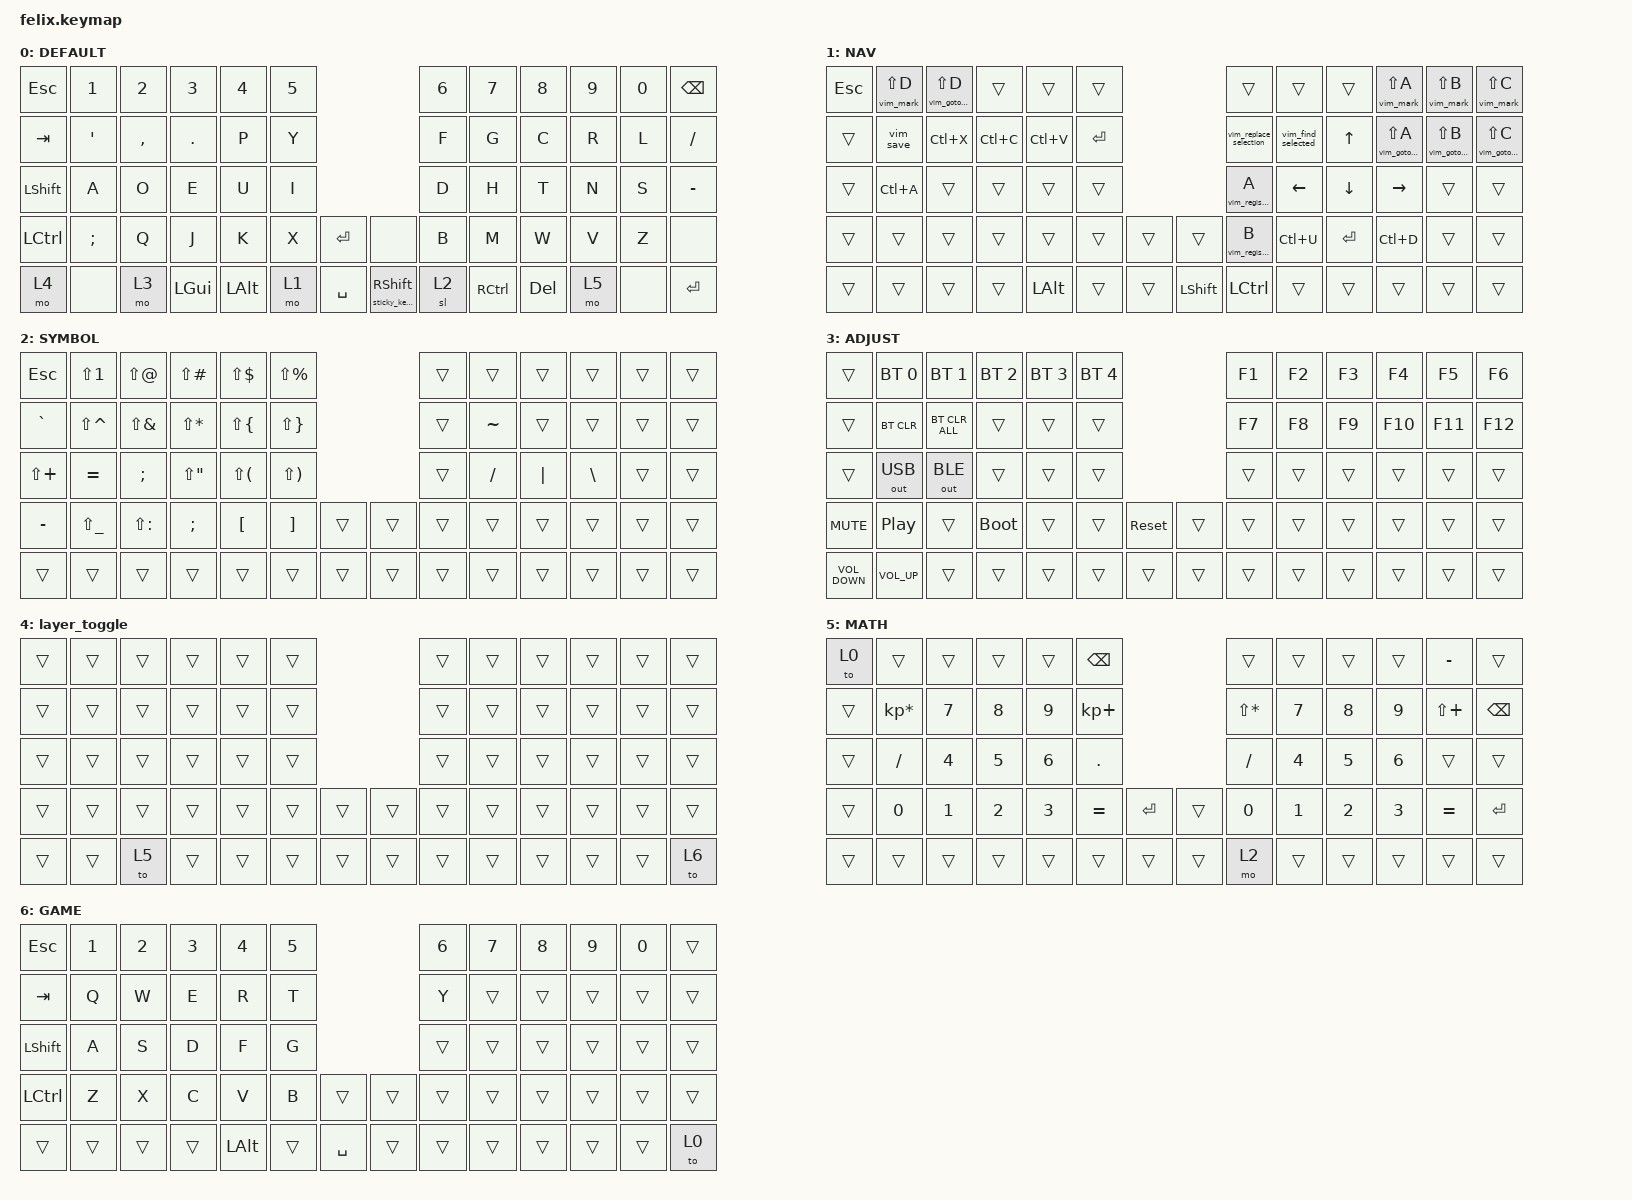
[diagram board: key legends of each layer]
/*
 * Copyright (c) 2020 The ZMK Contributors
 *
 * SPDX-License-Identifier: MIT
 */

#include <behaviors.dtsi>
#include <dt-bindings/zmk/bt.h>
#include <dt-bindings/zmk/keys.h>
#include <dt-bindings/zmk/outputs.h>

#define DEFAULT 0
#define LOWER  1
#define RAISE  2
#define ADJUST 3

/* NOTE: At the time of the creation of this keymap, there are no specified codes for 'eisuu' and 'kana' input in ZMK.
However, 'LANG1' and 'LANG2' are fully-functioning candidates for 'kana' and 'eisuu' input respectively.
As such, those are in use within the default layer at this time.*/

/ {
    behaviors {
        tpmt: tpmt {
            compatible = "zmk,behavior-hold-tap";
            label = "TPMT";
            bindings = <&kp>, <&kp>;

            #binding-cells = <2>;
            tapping-term-ms = <200>;
            quick-tap-ms = <125>;
            require-prior-idle-ms = <125>;
            flavor = "tap-preferred";
        };

        sticky_key_quick_release: sticky_key_quick_release {
            compatible = "zmk,behavior-sticky-key";
            label = "STICKY_KEY_QUICK_RELEASE";
            bindings = <&kp>;
            #binding-cells = <1>;
            quick-release;
            release-after-ms = <1000>;
        };
    };

    macros {
        m_dbl_zz: m_dbl_zz {
            compatible = "zmk,behavior-macro";
            #binding-cells = <0>;
            bindings = <&kp Z &kp Z>;
            label = "M_DBL_ZZ";
        };

        vim_replace_selection: vim_replace_selection {
            compatible = "zmk,behavior-macro";
            #binding-cells = <0>;
            bindings = <&kp DOUBLE_QUOTES &kp M &kp Y &kp FSLH &kp LC(R) &kp M &kp ENTER &kp LS(N) &kp G &kp N &kp C>;
            label = "VIM_REPLACE_SELECTION";
        };

        vim_register: vim_register {
            compatible = "zmk,behavior-macro-one-param";
            #binding-cells = <1>;
            bindings = <&kp DOUBLE_QUOTES &macro_param_1to1 &kp MACRO_PLACEHOLDER>;
            label = "VIM_REGISTER";
        };

        vim_mark: vim_mark {
            compatible = "zmk,behavior-macro-one-param";
            #binding-cells = <1>;
            bindings = <&kp M &macro_param_1to1 &kp MACRO_PLACEHOLDER>;
            label = "VIM_MARK";
        };

        vim_gotomark: vim_gotomark {
            compatible = "zmk,behavior-macro-one-param";
            #binding-cells = <1>;
            bindings = <&kp GRAVE &macro_param_1to1 &kp MACRO_PLACEHOLDER &kp Z &kp Z>;
            label = "VIM_GOTOMARK";
        };

        vim_save: vim_save {
            compatible = "zmk,behavior-macro";
            #binding-cells = <0>;
            bindings = <&kp COLON &kp W &kp A &kp ENTER>;
            label = "VIM_SAVE";
        };

        vim_find_selected: vim_find_selected {
            compatible = "zmk,behavior-macro";
            #binding-cells = <0>;
            bindings = <&kp DQT &kp D &kp Y &kp FSLH &kp LC(R) &kp D &kp ENTER>;
            label = "VIM_FIND_SELECTED";
        };
    };

    keymap {
        compatible = "zmk,keymap";

        default_layer {
            // ---------------------------------------------------------------------------------------------------------------------------------
            // | GRAVE  |   1    |   2    |   3    |   4    |   5    |                                      |   6    |   7    |   8    |   9    |   0    |  DEL   |
            // |  TAB   |   Q    |   W    |   E    |   R    |   T    |                                      |   Y    |   U    |   I    |   O    |   P    |  BSPC  |
            // |  CTRL  |   A    |   S    |   D    |   F    |   G    |                                      |   H    |   J    |   K    |   L    |   ;    |   '    |
            // |  SHIFT |   Z    |   X    |   C    |   V    |   B    |  LBKT  |                    |  RBKT  |   N    |   M    |   ,    |   .    |   /    |  RET   |
            // | ADJUST |  ESC   |  ALT   |  LGUI  | EISUU  | LOWER  | SPACE  |                    |  SPACE | RAISE  |  KANA  |  LEFT  |  DOWN  |  UP    |  RIGHT |

            bindings = <
&kp ESC         &kp N1    &kp N2     &kp N3        &kp N4        &kp N5                                                          &kp N6  &kp N7             &kp N8      &kp N9  &kp N0  &kp BACKSPACE
&kp TAB         &kp SQT   &kp COMMA  &kp DOT       &kp P         &kp Y                                                           &kp F   &kp G              &kp C       &kp R   &kp L   &kp SLASH
&kp LEFT_SHIFT  &kp A     &kp O      &kp E         &kp U         &kp I                                                           &kp D   &kp H              &kp T       &kp N   &kp S   &kp MINUS
&kp LCTRL       &kp SEMI  &kp Q      &kp J         &kp K         &kp X   &kp ENTER        &none                                  &kp B   &kp M              &kp W       &kp V   &kp Z   &none
&mo 4           &none     &mo 3      &kp LEFT_GUI  &kp LEFT_ALT  &mo 1   &kp SPACE        &sticky_key_quick_release RIGHT_SHIFT  &sl 2   &kp RIGHT_CONTROL  &kp DELETE  &mo 5   &none   &kp RETURN
            >;

            label = "DEFAULT";
        };

        nav {
            bindings = <
&kp ESC  &vim_mark LS(D)  &vim_gotomark LS(D)  &trans     &trans        &trans                                 &trans                  &trans              &trans        &vim_mark LS(A)      &vim_mark LS(B)      &vim_mark LS(C)
&trans   &vim_save        &kp LC(X)            &kp LC(C)  &kp LC(V)     &kp RET                                &vim_replace_selection  &vim_find_selected  &kp UP_ARROW  &vim_gotomark LS(A)  &vim_gotomark LS(B)  &vim_gotomark LS(C)
&trans   &kp LC(A)        &trans               &trans     &trans        &trans                                 &vim_register A         &kp LEFT            &kp DOWN      &kp RIGHT            &trans               &trans
&trans   &trans           &trans               &trans     &trans        &trans   &trans        &trans          &vim_register B         &kp LC(U)           &kp ENTER     &kp LC(D)            &trans               &trans
&trans   &trans           &trans               &trans     &kp LEFT_ALT  &trans   &trans        &kp LEFT_SHIFT  &kp LEFT_CONTROL        &trans              &trans        &trans               &trans               &trans
            >;

            label = "NAV";
        };

        symbol {
            bindings = <
&kp ESC       &kp LS(NUMBER_1)  &kp LS(AT)     &kp LS(POUND)  &kp LS(DLLR)  &kp LS(PRCNT)                        &trans  &trans     &trans    &trans         &trans  &trans
&kp GRAVE     &kp LS(CARET)     &kp LS(AMPS)   &kp LS(STAR)   &kp LS(LBRC)  &kp LS(RBRC)                         &trans  &kp TILDE  &trans    &trans         &trans  &trans
&kp LS(PLUS)  &kp EQUAL         &kp SEMI       &kp LS(DQT)    &kp LS(LPAR)  &kp LS(RPAR)                         &trans  &kp SLASH  &kp PIPE  &kp BACKSLASH  &trans  &trans
&kp MINUS     &kp LS(UNDER)     &kp LS(COLON)  &kp SEMICOLON  &kp LBKT      &kp RBKT       &trans        &trans  &trans  &trans     &trans    &trans         &trans  &trans
&trans        &trans            &trans         &trans         &trans        &trans         &trans        &trans  &trans  &trans     &trans    &trans         &trans  &trans
            >;

            label = "SYMBOL";
        };

        adjust {
            bindings = <
&trans             &bt BT_SEL 0      &bt BT_SEL 1    &bt BT_SEL 2  &bt BT_SEL 3  &bt BT_SEL 4                            &kp F1  &kp F2  &kp F3  &kp F4   &kp F5   &kp F6
&trans             &bt BT_CLR        &bt BT_CLR_ALL  &trans        &trans        &trans                                  &kp F7  &kp F8  &kp F9  &kp F10  &kp F11  &kp F12
&trans             &out OUT_USB      &out OUT_BLE    &trans        &trans        &trans                                  &trans  &trans  &trans  &trans   &trans   &trans
&kp C_MUTE         &kp C_PLAY_PAUSE  &trans          &bootloader   &trans        &trans        &sys_reset        &trans  &trans  &trans  &trans  &trans   &trans   &trans
&kp C_VOLUME_DOWN  &kp C_VOLUME_UP   &trans          &trans        &trans        &trans        &trans            &trans  &trans  &trans  &trans  &trans   &trans   &trans
            >;

            label = "ADJUST";
        };

        layer_toggle {
            bindings = <
&trans  &trans  &trans  &trans  &trans  &trans                        &trans  &trans  &trans  &trans  &trans  &trans
&trans  &trans  &trans  &trans  &trans  &trans                        &trans  &trans  &trans  &trans  &trans  &trans
&trans  &trans  &trans  &trans  &trans  &trans                        &trans  &trans  &trans  &trans  &trans  &trans
&trans  &trans  &trans  &trans  &trans  &trans  &trans        &trans  &trans  &trans  &trans  &trans  &trans  &trans
&trans  &trans  &to 5   &trans  &trans  &trans  &trans        &trans  &trans  &trans  &trans  &trans  &trans  &to 6
            >;
        };

        math {
            bindings = <
&to 0   &trans           &trans  &trans  &trans  &kp BACKSPACE                            &trans        &trans  &trans  &trans  &kp MINUS     &trans
&trans  &kp KP_ASTERISK  &kp N7  &kp N8  &kp N9  &kp KP_PLUS                              &kp LS(STAR)  &kp N7  &kp N8  &kp N9  &kp LS(PLUS)  &kp BACKSPACE
&trans  &kp FSLH         &kp N4  &kp N5  &kp N6  &kp PERIOD                               &kp FSLH      &kp N4  &kp N5  &kp N6  &trans        &trans
&trans  &kp N0           &kp N1  &kp N2  &kp N3  &kp EQUAL      &kp RETURN        &trans  &kp N0        &kp N1  &kp N2  &kp N3  &kp EQUAL     &kp RET
&trans  &trans           &trans  &trans  &trans  &trans         &trans            &trans  &mo 2         &trans  &trans  &trans  &trans        &trans
            >;

            label = "MATH";
        };

        gaming {
            bindings = <
&kp ESC    &kp N1  &kp N2  &kp N3  &kp N4    &kp N5                           &kp N6  &kp N7  &kp N8  &kp N9  &kp N0  &trans
&kp TAB    &kp Q   &kp W   &kp E   &kp R     &kp T                            &kp Y   &trans  &trans  &trans  &trans  &trans
&kp LSHFT  &kp A   &kp S   &kp D   &kp F     &kp G                            &trans  &trans  &trans  &trans  &trans  &trans
&kp LCTRL  &kp Z   &kp X   &kp C   &kp V     &kp B   &trans           &trans  &trans  &trans  &trans  &trans  &trans  &trans
&trans     &trans  &trans  &trans  &kp LALT  &trans  &kp SPACE        &trans  &trans  &trans  &trans  &trans  &trans  &to 0
            >;

            label = "GAME";
        };
    };
};
